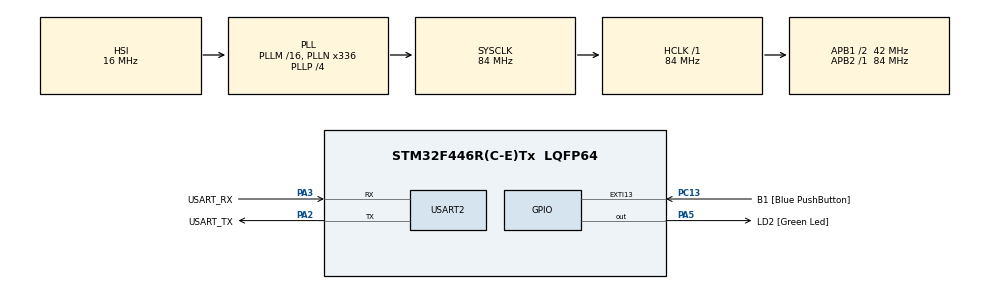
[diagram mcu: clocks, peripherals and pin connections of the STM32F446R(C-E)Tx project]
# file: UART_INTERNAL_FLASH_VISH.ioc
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Mcu.Family=STM32F4
Mcu.Name=STM32F446R(C-E)Tx
Mcu.Package=LQFP64
NVIC.PriorityGroup=NVIC_PRIORITYGROUP_0
PA13.GPIO_Label=TMS
PA13.Mode=Serial_Wire
PA13.Signal=SYS_JTMS-SWDIO
PA14.GPIO_Label=TCK
PA14.Mode=Serial_Wire
PA14.Signal=SYS_JTCK-SWCLK
PA2.GPIO_Label=USART_TX
PA2.Mode=Asynchronous
PA2.Signal=USART2_TX
PA3.GPIO_Label=USART_RX
PA3.Mode=Asynchronous
PA3.Signal=USART2_RX
PA5.GPIO_Label=LD2 [Green Led]
PA5.Signal=GPIO_Output
PB3.GPIO_Label=SWO
PB3.Signal=SYS_JTDO-SWO
PC13.GPIO_Label=B1 [Blue PushButton]
PC13.GPIO_ModeDefaultEXTI=GPIO_MODE_IT_FALLING
PC13.Signal=GPXTI13
PC14-OSC32_IN.Mode=LSE-External-Oscillator
PC14-OSC32_IN.Signal=RCC_OSC32_IN
PC15-OSC32_OUT.Mode=LSE-External-Oscillator
PC15-OSC32_OUT.Signal=RCC_OSC32_OUT
PH0-OSC_IN.Mode=HSE-External-Oscillator
PH0-OSC_IN.Signal=RCC_OSC_IN
PH1-OSC_OUT.Mode=HSE-External-Oscillator
PH1-OSC_OUT.Signal=RCC_OSC_OUT
ProjectManager.HeapSize=0x200
ProjectManager.StackSize=0x400
ProjectManager.TargetToolchain=STM32CubeIDE
RCC.48MHZClocksFreq_Value=84000000
RCC.AHBFreq_Value=84000000
RCC.APB1CLKDivider=RCC_HCLK_DIV2
RCC.APB1Freq_Value=42000000
RCC.APB1TimFreq_Value=84000000
RCC.APB2Freq_Value=84000000
RCC.APB2TimFreq_Value=84000000
RCC.CortexFreq_Value=84000000
RCC.FLatency-AdvancedSettings=FLASH_LATENCY_2
RCC.HCLKFreq_Value=84000000
RCC.HSE_VALUE=8000000
RCC.HSI_VALUE=16000000
RCC.PLLN=336
RCC.PLLP=RCC_PLLP_DIV4
RCC.SYSCLKFreq_VALUE=84000000
RCC.SYSCLKSource=RCC_SYSCLKSOURCE_PLLCLK
RCC.USBFreq_Value=168000000
RCC.VCOOutputFreq_Value=336000000
USART2.VirtualMode=VM_ASYNC
board=NUCLEO-F446RE

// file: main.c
/* USER CODE BEGIN Header */
/**
  ******************************************************************************
  * @file           : main.c
  * @brief          : Main program body
  ******************************************************************************
  * @attention
  *
  * Copyright (c) 2026 STMicroelectronics.
  * All rights reserved.
  *
  * This software is licensed under terms that can be found in the LICENSE file
  * in the root directory of this software component.
  * If no LICENSE file comes with this software, it is provided AS-IS.
  *
  ******************************************************************************
  */
/* USER CODE END Header */
#include "main.h"

/* USER CODE BEGIN Includes */
#include <string.h>
#include <stdint.h>

/* USER CODE END Includes */

/* USER CODE BEGIN PD */
#define PIN_FLASH_ADDRESS 0x08060000U
#define PIN_MAGIC         0x12345678U
#define DEFAULT_PIN       1234U
/* USER CODE END PD */

UART_HandleTypeDef huart2;

void SystemClock_Config(void);
static void MX_GPIO_Init(void);
static void MX_USART2_UART_Init(void);
/* USER CODE BEGIN PFP */
void Update_PIN(void);
/* USER CODE END PFP */

/* USER CODE BEGIN 0 */
HAL_StatusTypeDef Flash_Write_PIN(uint32_t pin)
{
    FLASH_EraseInitTypeDef erase;
    uint32_t error;
    HAL_FLASH_Unlock();
    // Erase Sector 7
    erase.TypeErase = FLASH_TYPEERASE_SECTORS;
    erase.Sector = FLASH_SECTOR_7;
    erase.NbSectors = 1;
    erase.VoltageRange = FLASH_VOLTAGE_RANGE_3;
    if (HAL_FLASHEx_Erase(&erase, &error) != HAL_OK)
    {
        HAL_FLASH_Lock();
        return HAL_ERROR;
    }
    // First store the PIN
    if (HAL_FLASH_Program(FLASH_TYPEPROGRAM_WORD, PIN_FLASH_ADDRESS + 4U, pin) != HAL_OK)
    {
        HAL_FLASH_Lock();
        return HAL_ERROR;
    }
    // Store validity marker last
    if (HAL_FLASH_Program(FLASH_TYPEPROGRAM_WORD, PIN_FLASH_ADDRESS, PIN_MAGIC) != HAL_OK)
    {
        HAL_FLASH_Lock();
        return HAL_ERROR;
    }
    HAL_FLASH_Lock();
    // Verify saved data
    if (*(volatile uint32_t *)(PIN_FLASH_ADDRESS) != PIN_MAGIC ||
        *(volatile uint32_t *)(PIN_FLASH_ADDRESS + 4U) != pin)
    {
        return HAL_ERROR;
    }

    return HAL_OK;
}
uint32_t Flash_Read_PIN(void)
{
    uint32_t pin;
    pin = *(volatile uint32_t *)(PIN_FLASH_ADDRESS + 4U);
    return pin;
}
HAL_StatusTypeDef PIN_Flash_Init(void)
{
    uint32_t magic;
    uint32_t pin;
    magic = *(volatile uint32_t *)PIN_FLASH_ADDRESS;
    pin = Flash_Read_PIN();

    // Check whether valid PIN data exists
    if (magic != PIN_MAGIC || pin > 9999U)
    {
        // Save default PIN
        return Flash_Write_PIN(DEFAULT_PIN);
    }

    return HAL_OK;
}
uint32_t UART_Read_PIN(void)
{
    uint8_t ch;
    uint32_t pin = 0;
    uint8_t count = 0;
    char message[] = "\r\nEnter 4-digit PIN: ";
    HAL_UART_Transmit(&huart2,(uint8_t *)message,strlen(message),HAL_MAX_DELAY);

    while (count < 4)
    {
        HAL_UART_Receive(&huart2,&ch, 1, HAL_MAX_DELAY);

        if (ch >= '0' && ch <= '9')
        {
            pin = (pin * 10U) + (ch - '0');
            HAL_UART_Transmit(&huart2,(uint8_t *)"*", 1, HAL_MAX_DELAY);
            count++;
        }
    }

    return pin;
}
void Verify_PIN(void)
{
    uint32_t stored_pin;
    uint32_t entered_pin;
    stored_pin = Flash_Read_PIN();
    entered_pin = UART_Read_PIN();
    if (entered_pin == stored_pin)
    {
        char success[] = "\r\nPIN Matched\r\n";
        HAL_UART_Transmit(&huart2, (uint8_t *)success, strlen(success), HAL_MAX_DELAY);
        Update_PIN();
    }
    else
    {
        char failure[] = "\r\nInvalid PIN\r\n";
        HAL_UART_Transmit(&huart2, (uint8_t *)failure, strlen(failure), HAL_MAX_DELAY);
    }
}

void Update_PIN(void)
{
    char command[10];
    uint8_t ch;
    uint8_t i = 0;
    uint32_t new_pin;
    char msg[] = "\r\nEnter command (CHANGE/EXIT): ";
    HAL_UART_Transmit(&huart2, (uint8_t *)msg,strlen(msg), HAL_MAX_DELAY);
    // Read command until Enter
    while (1)
    {
        HAL_UART_Receive(&huart2, &ch, 1, HAL_MAX_DELAY);
        if (ch == '\r' || ch == '\n')
            break;

        if (i < 9)
            command[i++] = ch;
    }
    command[i] = '\0';
    if (strcmp(command, "CHANGE") == 0)
    {
        char msg2[] = "\r\nEnter new PIN: ";
        HAL_UART_Transmit(&huart2, (uint8_t *)msg2,strlen(msg2), HAL_MAX_DELAY);
        new_pin = UART_Read_PIN();

        if (new_pin >= 1000 && new_pin <= 9999)
        {
            if (Flash_Write_PIN(new_pin) == HAL_OK)
            {
                char success[] = "\r\nPIN Updated Successfully!\r\n";

                HAL_UART_Transmit(&huart2, (uint8_t *)success,strlen(success), HAL_MAX_DELAY);
            }
            else
            {
                char error[] = "\r\nPIN Update Failed!\r\n";
                HAL_UART_Transmit(&huart2, (uint8_t *)error, strlen(error), HAL_MAX_DELAY);
            }
        }
        else
        {
            char error[] = "\r\nInvalid PIN!\r\n";
            HAL_UART_Transmit(&huart2, (uint8_t *)error, strlen(error), HAL_MAX_DELAY);
        }
    }
    else if (strcmp(command, "EXIT") == 0)
    {
        char msg3[] = "\r\nPIN not changed.\r\n";
        HAL_UART_Transmit(&huart2, (uint8_t *)msg3, strlen(msg3), HAL_MAX_DELAY);
    }
    else
    {
        char error[] = "\r\nInvalid command!\r\n";
        HAL_UART_Transmit(&huart2, (uint8_t *)error, strlen(error), HAL_MAX_DELAY);
    }
}

/* USER CODE END 0 */

int main(void)
{

  /* MCU Configuration--------------------------------------------------------*/

  /* Reset of all peripherals, Initializes the Flash interface and the Systick. */
  HAL_Init();

  /* Configure the system clock */
  SystemClock_Config();

  /* Initialize all configured peripherals */
  MX_GPIO_Init();
  MX_USART2_UART_Init();
  /* USER CODE BEGIN 2 */
  char welcome[] = "\r\n--- SECURE ACCESS SYSTEM ---\r\n";

  HAL_UART_Transmit(&huart2,
                    (uint8_t *)welcome,
                    strlen(welcome),
                    HAL_MAX_DELAY);

  // Initialize Flash
  if (PIN_Flash_Init() != HAL_OK)
  {
      char error[] = "\r\nFlash Error!\r\n";

      HAL_UART_Transmit(&huart2,
                        (uint8_t *)error,
                        strlen(error),
                        HAL_MAX_DELAY);

      Error_Handler();
  }

  // Verify PIN
  Verify_PIN();
  /* USER CODE END 2 */

  /* Infinite loop */
  while (1)
  {

  }
}

void SystemClock_Config(void)
{
  RCC_OscInitTypeDef RCC_OscInitStruct = {0};
  RCC_ClkInitTypeDef RCC_ClkInitStruct = {0};

  /** Configure the main internal regulator output voltage
  */
  __HAL_RCC_PWR_CLK_ENABLE();
  __HAL_PWR_VOLTAGESCALING_CONFIG(PWR_REGULATOR_VOLTAGE_SCALE3);

  /** Initializes the RCC Oscillators according to the specified parameters
  * in the RCC_OscInitTypeDef structure.
  */
  RCC_OscInitStruct.OscillatorType = RCC_OSCILLATORTYPE_HSI;
  RCC_OscInitStruct.HSIState = RCC_HSI_ON;
  RCC_OscInitStruct.HSICalibrationValue = RCC_HSICALIBRATION_DEFAULT;
  RCC_OscInitStruct.PLL.PLLState = RCC_PLL_ON;
  RCC_OscInitStruct.PLL.PLLSource = RCC_PLLSOURCE_HSI;
  RCC_OscInitStruct.PLL.PLLM = 16;
  RCC_OscInitStruct.PLL.PLLN = 336;
  RCC_OscInitStruct.PLL.PLLP = RCC_PLLP_DIV4;
  RCC_OscInitStruct.PLL.PLLQ = 2;
  RCC_OscInitStruct.PLL.PLLR = 2;
  if (HAL_RCC_OscConfig(&RCC_OscInitStruct) != HAL_OK)
  {
    Error_Handler();
  }

  /** Initializes the CPU, AHB and APB buses clocks
  */
  RCC_ClkInitStruct.ClockType = RCC_CLOCKTYPE_HCLK|RCC_CLOCKTYPE_SYSCLK
                              |RCC_CLOCKTYPE_PCLK1|RCC_CLOCKTYPE_PCLK2;
  RCC_ClkInitStruct.SYSCLKSource = RCC_SYSCLKSOURCE_PLLCLK;
  RCC_ClkInitStruct.AHBCLKDivider = RCC_SYSCLK_DIV1;
  RCC_ClkInitStruct.APB1CLKDivider = RCC_HCLK_DIV2;
  RCC_ClkInitStruct.APB2CLKDivider = RCC_HCLK_DIV1;

  if (HAL_RCC_ClockConfig(&RCC_ClkInitStruct, FLASH_LATENCY_2) != HAL_OK)
  {
    Error_Handler();
  }
}

static void MX_USART2_UART_Init(void)
{

  huart2.Instance = USART2;
  huart2.Init.BaudRate = 115200;
  huart2.Init.WordLength = UART_WORDLENGTH_8B;
  huart2.Init.StopBits = UART_STOPBITS_1;
  huart2.Init.Parity = UART_PARITY_NONE;
  huart2.Init.Mode = UART_MODE_TX_RX;
  huart2.Init.HwFlowCtl = UART_HWCONTROL_NONE;
  huart2.Init.OverSampling = UART_OVERSAMPLING_16;
  if (HAL_UART_Init(&huart2) != HAL_OK)
  {
    Error_Handler();
  }

}

static void MX_GPIO_Init(void)
{
  GPIO_InitTypeDef GPIO_InitStruct = {0};

  /* GPIO Ports Clock Enable */
  __HAL_RCC_GPIOC_CLK_ENABLE();
  __HAL_RCC_GPIOH_CLK_ENABLE();
  __HAL_RCC_GPIOA_CLK_ENABLE();
  __HAL_RCC_GPIOB_CLK_ENABLE();

  /*Configure GPIO pin Output Level */
  HAL_GPIO_WritePin(LD2_GPIO_Port, LD2_Pin, GPIO_PIN_RESET);

  /*Configure GPIO pin : B1_Pin */
  GPIO_InitStruct.Pin = B1_Pin;
  GPIO_InitStruct.Mode = GPIO_MODE_IT_FALLING;
  GPIO_InitStruct.Pull = GPIO_NOPULL;
  HAL_GPIO_Init(B1_GPIO_Port, &GPIO_InitStruct);

  /*Configure GPIO pin : LD2_Pin */
  GPIO_InitStruct.Pin = LD2_Pin;
  GPIO_InitStruct.Mode = GPIO_MODE_OUTPUT_PP;
  GPIO_InitStruct.Pull = GPIO_NOPULL;
  GPIO_InitStruct.Speed = GPIO_SPEED_FREQ_LOW;
  HAL_GPIO_Init(LD2_GPIO_Port, &GPIO_InitStruct);

}

void Error_Handler(void)
{
  __disable_irq();
  while (1)
  {
  }
}
